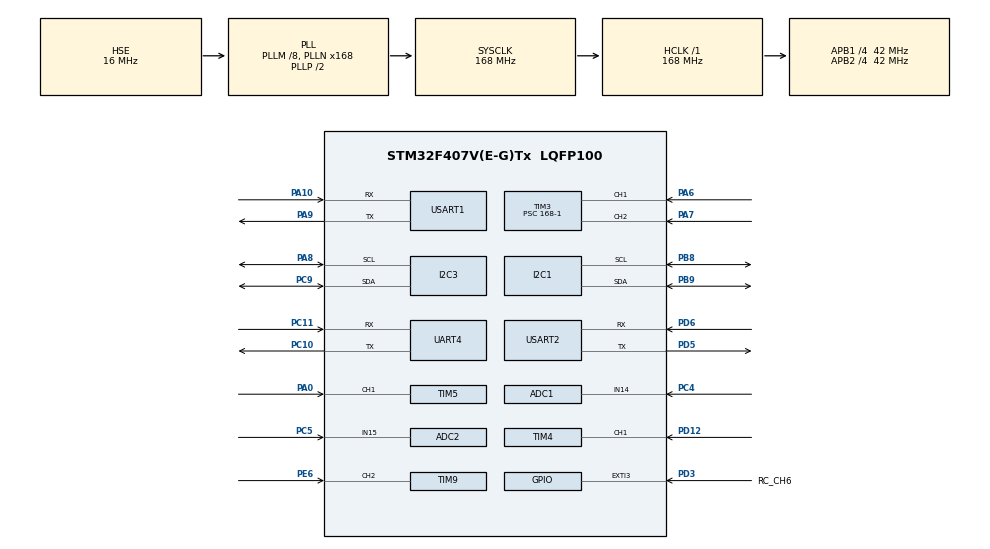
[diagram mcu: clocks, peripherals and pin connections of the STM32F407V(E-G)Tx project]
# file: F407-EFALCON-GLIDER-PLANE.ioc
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ADC1.Channel-0\#ChannelRegularConversion=ADC_CHANNEL_14
ADC1.ClockPrescaler=ADC_CLOCK_SYNC_PCLK_DIV4
ADC1.ContinuousConvMode=ENABLE
ADC1.NbrOfConversionFlag=1
ADC1.Rank-0\#ChannelRegularConversion=1
ADC1.SamplingTime-0\#ChannelRegularConversion=ADC_SAMPLETIME_3CYCLES
ADC1.master=1
ADC2.Channel-0\#ChannelRegularConversion=ADC_CHANNEL_15
ADC2.ClockPrescaler=ADC_CLOCK_SYNC_PCLK_DIV4
ADC2.ContinuousConvMode=ENABLE
ADC2.NbrOfConversionFlag=1
ADC2.Rank-0\#ChannelRegularConversion=1
ADC2.SamplingTime-0\#ChannelRegularConversion=ADC_SAMPLETIME_3CYCLES
Dma.Request0=USART2_RX
Dma.Request1=UART4_RX
Dma.UART4_RX.1.Direction=DMA_PERIPH_TO_MEMORY
Dma.UART4_RX.1.FIFOMode=DMA_FIFOMODE_DISABLE
Dma.UART4_RX.1.Instance=DMA1_Stream2
Dma.UART4_RX.1.MemDataAlignment=DMA_MDATAALIGN_BYTE
Dma.UART4_RX.1.MemInc=DMA_MINC_ENABLE
Dma.UART4_RX.1.Mode=DMA_CIRCULAR
Dma.UART4_RX.1.PeriphDataAlignment=DMA_PDATAALIGN_BYTE
Dma.UART4_RX.1.PeriphInc=DMA_PINC_DISABLE
Dma.UART4_RX.1.Priority=DMA_PRIORITY_LOW
Dma.USART2_RX.0.Direction=DMA_PERIPH_TO_MEMORY
Dma.USART2_RX.0.FIFOMode=DMA_FIFOMODE_DISABLE
Dma.USART2_RX.0.Instance=DMA1_Stream5
Dma.USART2_RX.0.MemDataAlignment=DMA_MDATAALIGN_BYTE
Dma.USART2_RX.0.MemInc=DMA_MINC_ENABLE
Dma.USART2_RX.0.Mode=DMA_CIRCULAR
Dma.USART2_RX.0.PeriphDataAlignment=DMA_PDATAALIGN_BYTE
Dma.USART2_RX.0.PeriphInc=DMA_PINC_DISABLE
Dma.USART2_RX.0.Priority=DMA_PRIORITY_LOW
Mcu.Family=STM32F4
Mcu.Name=STM32F407V(E-G)Tx
Mcu.Package=LQFP100
NVIC.DMA1_Stream2_IRQn=true\:0\:0\:false\:false\:true\:false\:true
NVIC.DMA1_Stream5_IRQn=true\:0\:0\:false\:false\:true\:false\:true
NVIC.PriorityGroup=NVIC_PRIORITYGROUP_4
NVIC.UART4_IRQn=true\:0\:0\:false\:false\:true\:true\:true
PA0-WKUP.Signal=S_TIM5_CH1
PA10.Mode=Asynchronous
PA10.Signal=USART1_RX
PA13.Mode=Serial_Wire
PA13.Signal=SYS_JTMS-SWDIO
PA14.Mode=Serial_Wire
PA14.Signal=SYS_JTCK-SWCLK
PA6.Signal=S_TIM3_CH1
PA7.Signal=S_TIM3_CH2
PA8.Mode=I2C
PA8.Signal=I2C3_SCL
PA9.Mode=Asynchronous
PA9.Signal=USART1_TX
PB8.Mode=I2C
PB8.Signal=I2C1_SCL
PB9.Mode=I2C
PB9.Signal=I2C1_SDA
PC10.Mode=Asynchronous
PC10.Signal=UART4_TX
PC11.Mode=Asynchronous
PC11.Signal=UART4_RX
PC4.Signal=ADCx_IN14
PC5.Signal=ADCx_IN15
PC9.Mode=I2C
PC9.Signal=I2C3_SDA
PD12.Signal=S_TIM4_CH1
PD3.GPIO_Label=RC_CH6
PD3.GPIO_ModeDefaultEXTI=GPIO_MODE_IT_RISING_FALLING
PD3.GPIO_PuPd=GPIO_PULLDOWN
PD3.Signal=GPXTI3
PD5.Mode=Asynchronous
PD5.Signal=USART2_TX
PD6.Mode=Asynchronous
PD6.Signal=USART2_RX
PE6.Signal=S_TIM9_CH2
PH0-OSC_IN.Mode=HSE-External-Oscillator
PH0-OSC_IN.Signal=RCC_OSC_IN
PH1-OSC_OUT.Mode=HSE-External-Oscillator
PH1-OSC_OUT.Signal=RCC_OSC_OUT
ProjectManager.HeapSize=0x200
ProjectManager.StackSize=0x400
ProjectManager.TargetToolchain=STM32CubeIDE
RCC.48MHZClocksFreq_Value=84000000
RCC.AHBFreq_Value=168000000
RCC.APB1CLKDivider=RCC_HCLK_DIV4
RCC.APB1Freq_Value=42000000
RCC.APB1TimFreq_Value=84000000
RCC.APB2CLKDivider=RCC_HCLK_DIV4
RCC.APB2Freq_Value=42000000
RCC.APB2TimFreq_Value=84000000
RCC.CortexFreq_Value=168000000
RCC.HCLKFreq_Value=168000000
RCC.HSE_VALUE=16000000
RCC.HSI_VALUE=16000000
RCC.LSE_VALUE=32768
RCC.PLLM=8
RCC.PLLN=168
RCC.PLLSourceVirtual=RCC_PLLSOURCE_HSE
RCC.SYSCLKFreq_VALUE=168000000
RCC.SYSCLKSource=RCC_SYSCLKSOURCE_PLLCLK
RCC.VCOOutputFreq_Value=336000000
SH.ADCx_IN14.0=ADC1_IN14,IN14
SH.ADCx_IN15.0=ADC2_IN15,IN15
SH.S_TIM3_CH1.0=TIM3_CH1,Input_Capture1_from_TI1
SH.S_TIM3_CH2.0=TIM3_CH2,Input_Capture2_from_TI2
SH.S_TIM4_CH1.0=TIM4_CH1,Input_Capture1_from_TI1
SH.S_TIM5_CH1.0=TIM5_CH1,Input_Capture1_from_TI1
SH.S_TIM9_CH2.0=TIM9_CH2,Input_Capture2_from_TI2
TIM3.Channel-Input_Capture1_from_TI1=TIM_CHANNEL_1
TIM3.Channel-Input_Capture2_from_TI2=TIM_CHANNEL_2
TIM3.Period=0xFFFF - 1
TIM3.Prescaler=168-1
TIM4.Channel-Input_Capture1_from_TI1=TIM_CHANNEL_1
TIM4.Period=0xFFFF - 1
TIM4.Prescaler=168-1
TIM5.Channel-Input_Capture1_from_TI1=TIM_CHANNEL_1
TIM5.Period=0xFFFF-1
TIM5.Prescaler=168-1
TIM6.Prescaler=42-1
TIM9.Channel-Input_Capture2_from_TI2=TIM_CHANNEL_2
TIM9.Period=0xFFFF-1
TIM9.Prescaler=168-1
UART4.VirtualMode=Asynchronous
USART1.VirtualMode=VM_ASYNC
USART2.VirtualMode=VM_ASYNC
VP_TIM6_VS_ClockSourceINT.Mode=Enable_Timer
board=custom

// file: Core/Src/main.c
/* USER CODE BEGIN Header */
/**
  ******************************************************************************
  * @file           : main.c
  * @brief          : Main program body
  ******************************************************************************
  * @attention
  *
  * <h2><center>&copy; Copyright (c) 2020 STMicroelectronics.
  * All rights reserved.</center></h2>
  *
  * This software component is licensed by ST under BSD 3-Clause license,
  * the "License"; You may not use this file except in compliance with the
  * License. You may obtain a copy of the License at:
  *                        opensource.org/licenses/BSD-3-Clause
  *
  ******************************************************************************
  */
/* USER CODE END Header */
#include "main.h"

/* USER CODE BEGIN Includes */
#include <string.h>
#include <stdio.h>
#include <stdlib.h>
#include <stdbool.h>
#include <math.h>

#include "I2Cdev.h"
#include "HMC5883L.h"
#include "bmp280.h"
#include "Kalman.h"
/* USER CODE END Includes */

/* USER CODE BEGIN PD */
#define PI	3.14159265358979f
/* USER CODE END PD */

ADC_HandleTypeDef hadc1;
ADC_HandleTypeDef hadc2;

I2C_HandleTypeDef hi2c1;
I2C_HandleTypeDef hi2c3;

TIM_HandleTypeDef htim3;
TIM_HandleTypeDef htim4;
TIM_HandleTypeDef htim5;
TIM_HandleTypeDef htim6;
TIM_HandleTypeDef htim9;

UART_HandleTypeDef huart4;
UART_HandleTypeDef huart1;
UART_HandleTypeDef huart2;
DMA_HandleTypeDef hdma_uart4_rx;
DMA_HandleTypeDef hdma_usart2_rx;

/* USER CODE BEGIN PV */
uint8_t buffer[200];
uint16_t ukuranstring;
/*-------Air_Speed----*/
uint32_t data_air;
const float sensitivity = 0.6;
const float offset = 0.6;
float air_speed, analog_air;
/*------Baterai------*/
uint32_t data_bat;
float baterai;
/*------COMPAS HMC883L----*/
int16_t x_heading, y_heading, z_heading;
float heading, data_heading, headingDegrees, declinationAngle;
/*-------BMP280----*/
Kalman_t kalman_altitude;
BMP280_HandleTypedef bmp280;
bool bme280p;
float pressureRef = 0, altitude;
/*------IMU_GY-25----*/
static char IMUDataStatus = 0;
volatile float sensorYaw, sensorPitch, sensorRoll;
float pitchRef = 0, yawRef = 0, rollRef = 0;
IMU_DATA IMU_Data;
HAL_StatusTypeDef huart2Status;
HAL_StatusTypeDef huart1Status;
uint8_t IMUBuffer[16];
/*-------GPS DATA----*/
float lon_gps, lat_gps;
char lat[20], lat_a, lon[20], lon_a;
DMA_Event_t dma_uart4_rx = {0, 0, DMA_BUF_SIZE};
uint8_t dma_rx4_buf[DMA_BUF_SIZE];
uint8_t data_gps[DMA_BUF_SIZE] = {'\0'};
bool UART4DataFlag = false;
/*-----INPUT TIM-----*/
PWM_DATA RC_CH1, RC_CH2, RC_CH3, RC_CH4, RC_CH5, RC_CH6;
FLY_MODE fly_mode;
/* USER CODE END PV */

void SystemClock_Config(void);
static void MX_GPIO_Init(void);
static void MX_DMA_Init(void);
static void MX_I2C1_Init(void);
static void MX_USART2_UART_Init(void);
static void MX_USART1_UART_Init(void);
static void MX_UART4_Init(void);
static void MX_I2C3_Init(void);
static void MX_ADC1_Init(void);
static void MX_ADC2_Init(void);
static void MX_TIM3_Init(void);
static void MX_TIM4_Init(void);
static void MX_TIM5_Init(void);
static void MX_TIM9_Init(void);
static void MX_TIM6_Init(void);

/* USER CODE BEGIN 0 */
void airspeed(){
	HAL_ADC_Start(&hadc2);
	while (__HAL_ADC_GET_FLAG(&hadc2, ADC_FLAG_EOC) != SET){;}
		  HAL_ADC_Stop(&hadc2);
		  data_air = HAL_ADC_GetValue(&hadc2);
		  analog_air = ((((float)data_air)/4095.0 * 3.0) - offset) / sensitivity;
		  if (analog_air <0.0) analog_air = 0;
			air_speed =  sqrt (2.0 * analog_air / 1.2 ) * 1.943844;
}
void monitor_BAT(){
	HAL_ADC_Start(&hadc1);
	while (__HAL_ADC_GET_FLAG(&hadc1, ADC_FLAG_EOC) != SET){;}
		  HAL_ADC_Stop(&hadc1);
		  data_bat = HAL_ADC_GetValue(&hadc1);
		  baterai = ((float)data_bat * 3.04985) * 0.00433641;
}
void HMC5883LInit(){
	HMC5883L_initialize();
	HAL_Delay(1000);
	while (!HMC5883L_testConnection()){
		ukuranstring = sprintf((char*)buffer, "Inisialisasi HMC5893L GAGAL \r\n");
		HAL_UART_Transmit(&huart1, buffer, ukuranstring, 10);
		HMC5883L_initialize();
		HAL_Delay(500);
	}
	ukuranstring = sprintf((char*)buffer, "Inisialisasi HMC5893L Telah Berhasil \r\n");
	HAL_UART_Transmit(&huart1, buffer, ukuranstring, 10);
}
float bacaheading(){
	HMC5883L_getHeading(&x_heading, &y_heading, &z_heading);
	heading = (atan2(x_heading, y_heading));
	declinationAngle = 0.22;				//data untuk mendahului gerakan yaw saat wahana cepat
	heading += declinationAngle;
	//normalise PI 0 sampai dengan 360
	if (heading < 0){
		heading += 2*PI;
	}
	if (heading > 2*PI){
		heading -= 2*PI;
	}
	headingDegrees = heading * 180 / M_PI;	//konversi dari data radian menjadi degree
	if (headingDegrees < 0) headingDegrees += 360;
	else if (headingDegrees > 360) headingDegrees -= 360;
	return headingDegrees;
}
void GetHMC5893L(){
	if(HMC5883L_getReadyStatus()){
		data_heading = bacaheading();
	}
}
void get_IMU(IMU_DATA *IMU_Data){
	if(IMUDataStatus){
		  uint8_t YPR[8];
		  IMU_Data->YAW = 1000.0f, IMU_Data->PITCH = 1000.0f, IMU_Data->ROLL = 1000.0f;
		  char* buf;
		  buf = memchr(IMUBuffer, 0xAA, 16);
		  memcpy(YPR, buf, 8);
		  if(YPR[0] == 0xAA && YPR[7] == 0x55){
			  IMU_Data->YAW = (float)((YPR[1] << 8 | YPR[2]) * 0.01f);
			  if(IMU_Data->YAW > 179) IMU_Data->YAW = IMU_Data->YAW - 655;

			  sensorYaw = IMU_Data->YAW - yawRef;

			  IMU_Data->PITCH = (float)((YPR[3] << 8 | YPR[4]) * 0.01f);
			  if(IMU_Data->PITCH > 179) IMU_Data->PITCH = IMU_Data->PITCH - 655;

			  sensorPitch = IMU_Data->PITCH - pitchRef;

			  IMU_Data->ROLL = (float)((YPR[5] << 8 | YPR[6]) * 0.01f);
			  if(IMU_Data->ROLL > 179) IMU_Data->ROLL = IMU_Data->ROLL - 655;

			  sensorRoll = IMU_Data->ROLL - rollRef;
		  }
		  IMUDataStatus = false;
	}
}
void IMUInit(){
	  HAL_Delay(3000);
	  HAL_UART_Transmit(&huart2, (u_char*)0xA5, 1, 10);
	  HAL_UART_Transmit(&huart2, (u_char*)0x54, 1, 10);

	  HAL_Delay(3000);
	  ukuranstring = sprintf((char*)buffer,"Kalibrasi tilt done\r\n");
	  HAL_UART_Transmit(&huart1, buffer, ukuranstring, 100);

	  //Kalibrasi heading
	  HAL_UART_Transmit(&huart2, (u_char*)0xA5, 1, 10);
	  HAL_UART_Transmit(&huart2, (u_char*)0x55, 1, 10);
	  HAL_Delay(3000);

	  ukuranstring = sprintf((char*)buffer,"Kalibrasi heading done\r\n");
	  HAL_UART_Transmit(&huart1, buffer, ukuranstring, 100);

	  //Konfigurasi Output ASCII
	  HAL_UART_Transmit(&huart2, (u_char*)0xA5, 1, 10);
	  HAL_UART_Transmit(&huart2, (u_char*)0x52, 1, 10);
	  HAL_Delay(1000);
	  HAL_UART_Receive_DMA(&huart2, IMUBuffer, 16);

	  float pitchTotal = 0, yawTotal = 0, rollTotal = 0;
	  int i = 0;
	  while(i < 100){
		  if(IMUDataStatus){
			  i += 1;
			  get_IMU(&IMU_Data);
			  pitchTotal += IMU_Data.PITCH;
			  yawTotal += IMU_Data.YAW;
			  rollTotal += IMU_Data.ROLL;
		  } else continue;
	  }
	  pitchRef = pitchTotal / 100;
	  yawRef = yawTotal / 100;
	  rollRef = rollTotal / 100;
}
void BMPinit(){
	kalman_init(&kalman_altitude, 0.1, 0.1, 0.03);
	bmp280_init_default_params(&bmp280.params);
	bmp280.addr = BMP280_I2C_ADDRESS_0;
	bmp280.i2c = &hi2c1;

	while(!bmp280_init(&bmp280, &bmp280.params)){
		ukuranstring = sprintf((char*)buffer, "BMP280 initialization failed\r\n");
		HAL_UART_Transmit(&huart1, buffer, ukuranstring, 1000);
		HAL_Delay(50);
	}
	HAL_Delay(1000);
	bme280p = bmp280.id == BME280_CHIP_ID;
	ukuranstring = sprintf((char*)buffer, "BMP280: found %s\r\n", bme280p ? "BME280" : "BMP280");
	HAL_UART_Transmit(&huart1, buffer, ukuranstring, 1000);

	ukuranstring = sprintf((char*)buffer, "Calibrating.\r\n");
	HAL_UART_Transmit(&huart1, buffer, ukuranstring, 10);

	float pres_total = 0;
	float pressure, temperature, humidity;

	for(int i = 0; i < 100; ++i){
		while(bmp280_is_measuring(&bmp280)) continue;
		bmp280_read_float(&bmp280, &temperature, &pressure, &humidity);
		HAL_UART_Transmit(&huart1, (uint8_t*)".", 1, 10);
		pres_total = pres_total + pressure;
	}

	pressureRef = pres_total / 100;
	ukuranstring = sprintf((char*)buffer,"Done!\r\n");
	HAL_UART_Transmit(&huart1, buffer, ukuranstring, 10);
	HAL_Delay(1000);
}
void get_BMP280(){
	if(!bmp280_is_measuring(&bmp280)){
		  float pressure, temperature, humidity;
		  bmp280_read_float(&bmp280, &temperature, &pressure, &humidity);
		  float altitude_reading = bmp280_read_altitude(pressure/100, pressureRef/100);
		  float estimated_altitude = kalman_updateEstimate(&kalman_altitude, altitude_reading);
		  altitude = estimated_altitude;
	}
}
//-----------parsing Data GPS---------------
void gps_parse(){
	if(UART4DataFlag == 1){
				  char *pointer;
				  int length = sizeof(data_gps);

				  memset(lat, '\0', 20);
				  memset(lon, '\0', 20) ;
				  pointer = strchr((char*)data_gps, '$');

				  do{
					  char *ptrstart;
					  char *ptrend;
					  if(strncmp(pointer, "$GNGGA" , 6) == 0){ //$GNGGA
						  ptrstart = (char*)memchr(pointer + 1, ',', length);
						  ptrstart = (char*)memchr(ptrstart + 1, ',', length);
						  ptrend = (char*)memchr(ptrstart + 1, ',', length);

					  } else if(strncmp(pointer, "$GNGLL", 6) == 0){ //$GNGLL
						  ptrstart = (char*)memchr(pointer + 1, ',', length);
						  ptrend = (char*)memchr(ptrstart + 1, ',', length);

					  } else if(strncmp(pointer, "$GNRMC", 6) == 0){
						  ptrstart = (char*)memchr(pointer + 1, ',', length);
						  ptrstart = (char*)memchr(ptrstart + 1, ',', length);
						  ptrstart = (char*)memchr(ptrstart + 1, ',', length);
						  ptrend = (char*)memchr(ptrstart + 1, ',', length);

					  } else {
						  pointer = strchr(pointer + 6, '$');
						  continue;
					  }

					  for(int i = 1; i < (ptrend - ptrstart); i++) lat[i - 1] = ptrstart[i];
					  lat_a = *(ptrend + 1);

					  ptrstart = (char*)memchr(ptrend + 1, ',', length);
					  ptrend = (char*)memchr(ptrstart + 1, ',', length);

					  for(int i = 1; i < (ptrend - ptrstart); i++) lon[i - 1] = ptrstart[i];
					  lon_a = *(ptrend + 1);
					  if(lon[0] != '\0' && lat[0] != '\0'){
						  //ukuranstring = sprintf((char*)buffer, "Lat: %s | %c\tLon: %s | %c\r\n", lat, lat_a, lon, lon_a);
						  //HAL_UART_Transmit(&huart1, buffer, ukuranstring, 100);
						  lat_gps = atof((char*)lat);
						  lon_gps = atof((char*)lon);
						  break;
					  }
					  pointer = strchr(pointer + 4, '$');
				  }
				  while(pointer != NULL);
				  UART4DataFlag = false;
			  }
}
void kirimGCS(){
/*	ukuranstring = sprintf((char*)buffer, "lat|lon=%f | %f,Y: %f,P: %f,R: %f,Alti: %f,Bat:%f,air:%f\r\n", lat_gps, lon_gps, sensorYaw, sensorPitch, sensorRoll, altitude, baterai, air_speed);
	HAL_UART_Transmit(&huart1, buffer, ukuranstring, 100);*/
	  ukuranstring = sprintf((char*)buffer, "CH1: %lu, CH2: %lu, CH3: %lu, CH4: %lu, CH5: %lu, CH6: %lu\r\n",
			  RC_CH1.DutyCycleVal, RC_CH2.DutyCycleVal, RC_CH3.DutyCycleVal,
			  RC_CH4.DutyCycleVal, RC_CH5.DutyCycleVal, RC_CH6.DutyCycleVal);
	  HAL_UART_Transmit(&huart1, buffer, ukuranstring, 100);
}
void initPWM_DATA(PWM_DATA* pwm_data, TIM_HandleTypeDef *htim, uint32_t channel){
	pwm_data->onFallingEdge = false;
	pwm_data->onRisingEdge = true;
	pwm_data->channel = channel;
	pwm_data->htim = htim;
}
void RemoteInit(){
	  fly_mode = FLY_MODE_OFF;
	  ukuranstring = sprintf((char*)buffer, "Wahana Mode Off\r\n");
	  HAL_UART_Transmit(&huart1, buffer, ukuranstring, 10);

	  initPWM_DATA(&RC_CH1, &htim3, TIM_CHANNEL_2);
	  initPWM_DATA(&RC_CH2, &htim9, TIM_CHANNEL_2);
	  initPWM_DATA(&RC_CH3, &htim5, TIM_CHANNEL_1);
	  initPWM_DATA(&RC_CH4, &htim3, TIM_CHANNEL_1);
	  initPWM_DATA(&RC_CH5, &htim4, TIM_CHANNEL_1);
	  initPWM_DATA(&RC_CH6, &htim6, 0);

	  HAL_TIM_IC_Start_IT(RC_CH1.htim, RC_CH1.channel);
	  HAL_TIM_IC_Start_IT(RC_CH2.htim, RC_CH2.channel);
	  HAL_TIM_IC_Start_IT(RC_CH3.htim, RC_CH3.channel);
	  HAL_TIM_IC_Start_IT(RC_CH4.htim, RC_CH4.channel);
	  HAL_TIM_IC_Start_IT(RC_CH5.htim, RC_CH5.channel);
	  HAL_TIM_Base_Start(RC_CH6.htim);
}
void setPWM_DATA(PWM_DATA* pwm_data){
	if(pwm_data->onRisingEdge && !pwm_data->onFallingEdge){
		pwm_data->onRisingEdge = false;
		pwm_data->onFallingEdge = true;
		pwm_data->RisingEdgeVal = HAL_TIM_ReadCapturedValue(pwm_data->htim, pwm_data->channel);
		__HAL_TIM_SET_CAPTUREPOLARITY(pwm_data->htim, pwm_data->channel, TIM_INPUTCHANNELPOLARITY_FALLING);

	} else if(pwm_data->onFallingEdge && !pwm_data->onRisingEdge) {
		pwm_data->onFallingEdge = false;
		pwm_data->onRisingEdge =  true;
		pwm_data->FallingEdgeVal = HAL_TIM_ReadCapturedValue(pwm_data->htim, pwm_data->channel);
		__HAL_TIM_SET_CAPTUREPOLARITY(pwm_data->htim, pwm_data->channel, TIM_INPUTCHANNELPOLARITY_RISING);
	}
	if(pwm_data->FallingEdgeVal >= pwm_data->RisingEdgeVal){
		pwm_data->DutyCycleVal = pwm_data->FallingEdgeVal - pwm_data->RisingEdgeVal;
		pwm_data->FallingEdgeVal = 0;
		pwm_data->RisingEdgeVal = 0;
	}
}
/*void ESCInit(){
	HAL_TIM_PWM_Start(&htim2, TIM_CHANNEL_3);
	setPWM(htim2, TIM_CHANNEL_3, ESC_PWM_MAX);
	HAL_Delay(2000);
	setPWM(htim2, TIM_CHANNEL_3, ESC_PWM_MIN);
	HAL_Delay(2000);
}*/
void modefly(){
	  if(inputFlyMode >= 1000 && inputFlyMode <= 1050 && fly_mode != FLY_MODE_OFF){
//		  HAL_TIM_Base_Stop_IT(&htim7);
		  fly_mode = FLY_MODE_OFF;
/*		  PIDReset(&PIDRoll);
		  PIDReset(&PIDPitch);
		  PIDReset(&PIDYaw);
		  pulseESC1 = pulseESC2 = pulseESC3 = pulseESC4 = 1000;*/
		  ukuranstring = sprintf((char*)buffer, "Wahana Mode Off\r\n");
		  HAL_UART_Transmit(&huart1, buffer, ukuranstring, 10);
	  } else if(inputFlyMode >= 1450 && inputFlyMode <= 1550 && fly_mode != FLY_MODE_ON){
		  fly_mode = FLY_MODE_ON;
		  ukuranstring = sprintf((char*)buffer, "Wahana Mode On\r\n");
		  HAL_UART_Transmit(&huart1, buffer, ukuranstring, 10);
//		  HAL_TIM_Base_Start_IT(&htim7);
	  } else if(inputFlyMode >= 1900 && inputFlyMode <= 2000 && fly_mode != FLY_MODE_HOLD){
		  fly_mode = FLY_MODE_HOLD;
		  ukuranstring = sprintf((char*)buffer, "Wahana Mode Hold\r\n");
		  HAL_UART_Transmit(&huart1, buffer, ukuranstring, 10);
	  }
}
/* USER CODE END 0 */

int main(void)
{

  /* MCU Configuration--------------------------------------------------------*/

  /* Reset of all peripherals, Initializes the Flash interface and the Systick. */
  HAL_Init();

  /* Configure the system clock */
  SystemClock_Config();

  /* Initialize all configured peripherals */
  MX_GPIO_Init();
  MX_DMA_Init();
  MX_I2C1_Init();
  MX_USART2_UART_Init();
  MX_USART1_UART_Init();
  MX_UART4_Init();
  MX_I2C3_Init();
  MX_ADC1_Init();
  MX_ADC2_Init();
  MX_TIM3_Init();
  MX_TIM4_Init();
  MX_TIM5_Init();
  MX_TIM9_Init();
  MX_TIM6_Init();
  /* USER CODE BEGIN 2 */
  IMUInit();
  BMPinit();
  //HMC5883LInit();
  /*----interupt GPS UART4-----*/
  __HAL_UART_ENABLE_IT(&huart4, UART_IT_IDLE);
  if(HAL_UART_Receive_DMA(&huart4, dma_rx4_buf, DMA_BUF_SIZE) != HAL_OK){
	  Error_Handler();
  }
  __HAL_DMA_DISABLE_IT(huart4.hdmarx, DMA_IT_HT);
  /* USER CODE END 2 */

  /* Infinite loop */
  /* USER CODE BEGIN WHILE */
  while (1)
  {
	  modefly();
	  get_IMU(&IMU_Data);
	  get_BMP280();
	  gps_parse();
	  monitor_BAT();
	  airspeed();
	  kirimGCS();
    /* USER CODE END WHILE */

  }
}

void SystemClock_Config(void)
{
  RCC_OscInitTypeDef RCC_OscInitStruct = {0};
  RCC_ClkInitTypeDef RCC_ClkInitStruct = {0};

  /** Configure the main internal regulator output voltage
  */
  __HAL_RCC_PWR_CLK_ENABLE();
  __HAL_PWR_VOLTAGESCALING_CONFIG(PWR_REGULATOR_VOLTAGE_SCALE1);
  /** Initializes the RCC Oscillators according to the specified parameters
  * in the RCC_OscInitTypeDef structure.
  */
  RCC_OscInitStruct.OscillatorType = RCC_OSCILLATORTYPE_HSE;
  RCC_OscInitStruct.HSEState = RCC_HSE_ON;
  RCC_OscInitStruct.PLL.PLLState = RCC_PLL_ON;
  RCC_OscInitStruct.PLL.PLLSource = RCC_PLLSOURCE_HSE;
  RCC_OscInitStruct.PLL.PLLM = 8;
  RCC_OscInitStruct.PLL.PLLN = 168;
  RCC_OscInitStruct.PLL.PLLP = RCC_PLLP_DIV2;
  RCC_OscInitStruct.PLL.PLLQ = 4;
  if (HAL_RCC_OscConfig(&RCC_OscInitStruct) != HAL_OK)
  {
    Error_Handler();
  }
  /** Initializes the CPU, AHB and APB buses clocks
  */
  RCC_ClkInitStruct.ClockType = RCC_CLOCKTYPE_HCLK|RCC_CLOCKTYPE_SYSCLK
                              |RCC_CLOCKTYPE_PCLK1|RCC_CLOCKTYPE_PCLK2;
  RCC_ClkInitStruct.SYSCLKSource = RCC_SYSCLKSOURCE_PLLCLK;
  RCC_ClkInitStruct.AHBCLKDivider = RCC_SYSCLK_DIV1;
  RCC_ClkInitStruct.APB1CLKDivider = RCC_HCLK_DIV4;
  RCC_ClkInitStruct.APB2CLKDivider = RCC_HCLK_DIV4;

  if (HAL_RCC_ClockConfig(&RCC_ClkInitStruct, FLASH_LATENCY_5) != HAL_OK)
  {
    Error_Handler();
  }
}

static void MX_ADC1_Init(void)
{

  ADC_ChannelConfTypeDef sConfig = {0};

  /** Configure the global features of the ADC (Clock, Resolution, Data Alignment and number of conversion)
  */
  hadc1.Instance = ADC1;
  hadc1.Init.ClockPrescaler = ADC_CLOCK_SYNC_PCLK_DIV4;
  hadc1.Init.Resolution = ADC_RESOLUTION_12B;
  hadc1.Init.ScanConvMode = DISABLE;
  hadc1.Init.ContinuousConvMode = ENABLE;
  hadc1.Init.DiscontinuousConvMode = DISABLE;
  hadc1.Init.ExternalTrigConvEdge = ADC_EXTERNALTRIGCONVEDGE_NONE;
  hadc1.Init.ExternalTrigConv = ADC_SOFTWARE_START;
  hadc1.Init.DataAlign = ADC_DATAALIGN_RIGHT;
  hadc1.Init.NbrOfConversion = 1;
  hadc1.Init.DMAContinuousRequests = DISABLE;
  hadc1.Init.EOCSelection = ADC_EOC_SINGLE_CONV;
  if (HAL_ADC_Init(&hadc1) != HAL_OK)
  {
    Error_Handler();
  }
  /** Configure for the selected ADC regular channel its corresponding rank in the sequencer and its sample time.
  */
  sConfig.Channel = ADC_CHANNEL_14;
  sConfig.Rank = 1;
  sConfig.SamplingTime = ADC_SAMPLETIME_3CYCLES;
  if (HAL_ADC_ConfigChannel(&hadc1, &sConfig) != HAL_OK)
  {
    Error_Handler();
  }

}

static void MX_ADC2_Init(void)
{

  ADC_ChannelConfTypeDef sConfig = {0};

  /** Configure the global features of the ADC (Clock, Resolution, Data Alignment and number of conversion)
  */
  hadc2.Instance = ADC2;
  hadc2.Init.ClockPrescaler = ADC_CLOCK_SYNC_PCLK_DIV4;
  hadc2.Init.Resolution = ADC_RESOLUTION_12B;
  hadc2.Init.ScanConvMode = DISABLE;
  hadc2.Init.ContinuousConvMode = ENABLE;
  hadc2.Init.DiscontinuousConvMode = DISABLE;
  hadc2.Init.ExternalTrigConvEdge = ADC_EXTERNALTRIGCONVEDGE_NONE;
  hadc2.Init.ExternalTrigConv = ADC_SOFTWARE_START;
  hadc2.Init.DataAlign = ADC_DATAALIGN_RIGHT;
  hadc2.Init.NbrOfConversion = 1;
  hadc2.Init.DMAContinuousRequests = DISABLE;
  hadc2.Init.EOCSelection = ADC_EOC_SINGLE_CONV;
  if (HAL_ADC_Init(&hadc2) != HAL_OK)
  {
    Error_Handler();
  }
  /** Configure for the selected ADC regular channel its corresponding rank in the sequencer and its sample time.
  */
  sConfig.Channel = ADC_CHANNEL_15;
  sConfig.Rank = 1;
  sConfig.SamplingTime = ADC_SAMPLETIME_3CYCLES;
  if (HAL_ADC_ConfigChannel(&hadc2, &sConfig) != HAL_OK)
  {
    Error_Handler();
  }

}

static void MX_I2C1_Init(void)
{

  hi2c1.Instance = I2C1;
  hi2c1.Init.ClockSpeed = 100000;
  hi2c1.Init.DutyCycle = I2C_DUTYCYCLE_2;
  hi2c1.Init.OwnAddress1 = 0;
  hi2c1.Init.AddressingMode = I2C_ADDRESSINGMODE_7BIT;
  hi2c1.Init.DualAddressMode = I2C_DUALADDRESS_DISABLE;
  hi2c1.Init.OwnAddress2 = 0;
  hi2c1.Init.GeneralCallMode = I2C_GENERALCALL_DISABLE;
  hi2c1.Init.NoStretchMode = I2C_NOSTRETCH_DISABLE;
  if (HAL_I2C_Init(&hi2c1) != HAL_OK)
  {
    Error_Handler();
  }

}

static void MX_I2C3_Init(void)
{

  hi2c3.Instance = I2C3;
  hi2c3.Init.ClockSpeed = 100000;
  hi2c3.Init.DutyCycle = I2C_DUTYCYCLE_2;
  hi2c3.Init.OwnAddress1 = 0;
  hi2c3.Init.AddressingMode = I2C_ADDRESSINGMODE_7BIT;
  hi2c3.Init.DualAddressMode = I2C_DUALADDRESS_DISABLE;
  hi2c3.Init.OwnAddress2 = 0;
  hi2c3.Init.GeneralCallMode = I2C_GENERALCALL_DISABLE;
  hi2c3.Init.NoStretchMode = I2C_NOSTRETCH_DISABLE;
  if (HAL_I2C_Init(&hi2c3) != HAL_OK)
  {
    Error_Handler();
  }

}

static void MX_TIM3_Init(void)
{

  TIM_MasterConfigTypeDef sMasterConfig = {0};
  TIM_IC_InitTypeDef sConfigIC = {0};

  htim3.Instance = TIM3;
  htim3.Init.Prescaler = 168-1;
  htim3.Init.CounterMode = TIM_COUNTERMODE_UP;
  htim3.Init.Period = 0xFFFF - 1;
  htim3.Init.ClockDivision = TIM_CLOCKDIVISION_DIV1;
  htim3.Init.AutoReloadPreload = TIM_AUTORELOAD_PRELOAD_DISABLE;
  if (HAL_TIM_IC_Init(&htim3) != HAL_OK)
  {
    Error_Handler();
  }
  sMasterConfig.MasterOutputTrigger = TIM_TRGO_RESET;
  sMasterConfig.MasterSlaveMode = TIM_MASTERSLAVEMODE_DISABLE;
  if (HAL_TIMEx_MasterConfigSynchronization(&htim3, &sMasterConfig) != HAL_OK)
  {
    Error_Handler();
  }
  sConfigIC.ICPolarity = TIM_INPUTCHANNELPOLARITY_RISING;
  sConfigIC.ICSelection = TIM_ICSELECTION_DIRECTTI;
  sConfigIC.ICPrescaler = TIM_ICPSC_DIV1;
  sConfigIC.ICFilter = 0;
  if (HAL_TIM_IC_ConfigChannel(&htim3, &sConfigIC, TIM_CHANNEL_1) != HAL_OK)
  {
    Error_Handler();
  }
  if (HAL_TIM_IC_ConfigChannel(&htim3, &sConfigIC, TIM_CHANNEL_2) != HAL_OK)
  {
    Error_Handler();
  }

}

static void MX_TIM4_Init(void)
{

  TIM_MasterConfigTypeDef sMasterConfig = {0};
  TIM_IC_InitTypeDef sConfigIC = {0};

  htim4.Instance = TIM4;
  htim4.Init.Prescaler = 168-1;
  htim4.Init.CounterMode = TIM_COUNTERMODE_UP;
  htim4.Init.Period = 0xFFFF - 1;
  htim4.Init.ClockDivision = TIM_CLOCKDIVISION_DIV1;
  htim4.Init.AutoReloadPreload = TIM_AUTORELOAD_PRELOAD_DISABLE;
  if (HAL_TIM_IC_Init(&htim4) != HAL_OK)
  {
    Error_Handler();
  }
  sMasterConfig.MasterOutputTrigger = TIM_TRGO_RESET;
  sMasterConfig.MasterSlaveMode = TIM_MASTERSLAVEMODE_DISABLE;
  if (HAL_TIMEx_MasterConfigSynchronization(&htim4, &sMasterConfig) != HAL_OK)
  {
    Error_Handler();
  }
  sConfigIC.ICPolarity = TIM_INPUTCHANNELPOLARITY_RISING;
  sConfigIC.ICSelection = TIM_ICSELECTION_DIRECTTI;
  sConfigIC.ICPrescaler = TIM_ICPSC_DIV1;
  sConfigIC.ICFilter = 0;
  if (HAL_TIM_IC_ConfigChannel(&htim4, &sConfigIC, TIM_CHANNEL_1) != HAL_OK)
  {
    Error_Handler();
  }

}

static void MX_TIM5_Init(void)
{

  TIM_MasterConfigTypeDef sMasterConfig = {0};
  TIM_IC_InitTypeDef sConfigIC = {0};

  htim5.Instance = TIM5;
  htim5.Init.Prescaler = 168-1;
  htim5.Init.CounterMode = TIM_COUNTERMODE_UP;
  htim5.Init.Period = 0xFFFF-1;
  htim5.Init.ClockDivision = TIM_CLOCKDIVISION_DIV1;
  htim5.Init.AutoReloadPreload = TIM_AUTORELOAD_PRELOAD_DISABLE;
  if (HAL_TIM_IC_Init(&htim5) != HAL_OK)
  {
    Error_Handler();
  }
  sMasterConfig.MasterOutputTrigger = TIM_TRGO_RESET;
  sMasterConfig.MasterSlaveMode = TIM_MASTERSLAVEMODE_DISABLE;
  if (HAL_TIMEx_MasterConfigSynchronization(&htim5, &sMasterConfig) != HAL_OK)
  {
    Error_Handler();
  }
  sConfigIC.ICPolarity = TIM_INPUTCHANNELPOLARITY_RISING;
  sConfigIC.ICSelection = TIM_ICSELECTION_DIRECTTI;
  sConfigIC.ICPrescaler = TIM_ICPSC_DIV1;
  sConfigIC.ICFilter = 0;
  if (HAL_TIM_IC_ConfigChannel(&htim5, &sConfigIC, TIM_CHANNEL_1) != HAL_OK)
  {
    Error_Handler();
  }

}

static void MX_TIM6_Init(void)
{

  TIM_MasterConfigTypeDef sMasterConfig = {0};

  htim6.Instance = TIM6;
  htim6.Init.Prescaler = 42-1;
  htim6.Init.CounterMode = TIM_COUNTERMODE_UP;
  htim6.Init.Period = 65535;
  htim6.Init.AutoReloadPreload = TIM_AUTORELOAD_PRELOAD_DISABLE;
  if (HAL_TIM_Base_Init(&htim6) != HAL_OK)
  {
    Error_Handler();
  }
  sMasterConfig.MasterOutputTrigger = TIM_TRGO_RESET;
  sMasterConfig.MasterSlaveMode = TIM_MASTERSLAVEMODE_DISABLE;
  if (HAL_TIMEx_MasterConfigSynchronization(&htim6, &sMasterConfig) != HAL_OK)
  {
    Error_Handler();
  }

}

static void MX_TIM9_Init(void)
{

  TIM_IC_InitTypeDef sConfigIC = {0};

  htim9.Instance = TIM9;
  htim9.Init.Prescaler = 168-1;
  htim9.Init.CounterMode = TIM_COUNTERMODE_UP;
  htim9.Init.Period = 0xFFFF-1;
  htim9.Init.ClockDivision = TIM_CLOCKDIVISION_DIV1;
  htim9.Init.AutoReloadPreload = TIM_AUTORELOAD_PRELOAD_DISABLE;
  if (HAL_TIM_IC_Init(&htim9) != HAL_OK)
  {
    Error_Handler();
  }
  sConfigIC.ICPolarity = TIM_INPUTCHANNELPOLARITY_RISING;
  sConfigIC.ICSelection = TIM_ICSELECTION_DIRECTTI;
  sConfigIC.ICPrescaler = TIM_ICPSC_DIV1;
  sConfigIC.ICFilter = 0;
  if (HAL_TIM_IC_ConfigChannel(&htim9, &sConfigIC, TIM_CHANNEL_2) != HAL_OK)
  {
    Error_Handler();
  }

}

static void MX_UART4_Init(void)
{

  huart4.Instance = UART4;
  huart4.Init.BaudRate = 115200;
  huart4.Init.WordLength = UART_WORDLENGTH_8B;
  huart4.Init.StopBits = UART_STOPBITS_1;
  huart4.Init.Parity = UART_PARITY_NONE;
  huart4.Init.Mode = UART_MODE_TX_RX;
  huart4.Init.HwFlowCtl = UART_HWCONTROL_NONE;
  huart4.Init.OverSampling = UART_OVERSAMPLING_16;
  if (HAL_UART_Init(&huart4) != HAL_OK)
  {
    Error_Handler();
  }

}

static void MX_USART1_UART_Init(void)
{

  huart1.Instance = USART1;
  huart1.Init.BaudRate = 115200;
  huart1.Init.WordLength = UART_WORDLENGTH_8B;
  huart1.Init.StopBits = UART_STOPBITS_1;
  huart1.Init.Parity = UART_PARITY_NONE;
  huart1.Init.Mode = UART_MODE_TX_RX;
  huart1.Init.HwFlowCtl = UART_HWCONTROL_NONE;
  huart1.Init.OverSampling = UART_OVERSAMPLING_16;
  if (HAL_UART_Init(&huart1) != HAL_OK)
  {
    Error_Handler();
  }

}

static void MX_USART2_UART_Init(void)
{

  huart2.Instance = USART2;
  huart2.Init.BaudRate = 115200;
  huart2.Init.WordLength = UART_WORDLENGTH_8B;
  huart2.Init.StopBits = UART_STOPBITS_1;
  huart2.Init.Parity = UART_PARITY_NONE;
  huart2.Init.Mode = UART_MODE_TX_RX;
  huart2.Init.HwFlowCtl = UART_HWCONTROL_NONE;
  huart2.Init.OverSampling = UART_OVERSAMPLING_16;
  if (HAL_UART_Init(&huart2) != HAL_OK)
  {
    Error_Handler();
  }

}

static void MX_DMA_Init(void)
{

  /* DMA controller clock enable */
  __HAL_RCC_DMA1_CLK_ENABLE();

  /* DMA interrupt init */
  /* DMA1_Stream2_IRQn interrupt configuration */
  HAL_NVIC_SetPriority(DMA1_Stream2_IRQn, 0, 0);
  HAL_NVIC_EnableIRQ(DMA1_Stream2_IRQn);
  /* DMA1_Stream5_IRQn interrupt configuration */
  HAL_NVIC_SetPriority(DMA1_Stream5_IRQn, 0, 0);
  HAL_NVIC_EnableIRQ(DMA1_Stream5_IRQn);

}

static void MX_GPIO_Init(void)
{
  GPIO_InitTypeDef GPIO_InitStruct = {0};

  /* GPIO Ports Clock Enable */
  __HAL_RCC_GPIOE_CLK_ENABLE();
  __HAL_RCC_GPIOH_CLK_ENABLE();
  __HAL_RCC_GPIOA_CLK_ENABLE();
  __HAL_RCC_GPIOC_CLK_ENABLE();
  __HAL_RCC_GPIOD_CLK_ENABLE();
  __HAL_RCC_GPIOB_CLK_ENABLE();

  /*Configure GPIO pin : RC_CH6_Pin */
  GPIO_InitStruct.Pin = RC_CH6_Pin;
  GPIO_InitStruct.Mode = GPIO_MODE_IT_RISING_FALLING;
  GPIO_InitStruct.Pull = GPIO_PULLDOWN;
  HAL_GPIO_Init(RC_CH6_GPIO_Port, &GPIO_InitStruct);

}

/* USER CODE BEGIN 4 */
void HAL_UART_RxCpltCallback(UART_HandleTypeDef *huart){
	if(huart->Instance == UART4){
	    uint16_t i, pos, start, length;
	    uint16_t currCNDTR = __HAL_DMA_GET_COUNTER(huart->hdmarx);

	    if(dma_uart4_rx.flag && currCNDTR == DMA_BUF_SIZE)
	    {
	        dma_uart4_rx.flag = 0;
	        return;
	    }
	    start = (dma_uart4_rx.prevCNDTR < DMA_BUF_SIZE) ? (DMA_BUF_SIZE - dma_uart4_rx.prevCNDTR) : 0;
	    if(dma_uart4_rx.flag)    /* Timeout event */
	    {
	        length = (dma_uart4_rx.prevCNDTR < DMA_BUF_SIZE) ? (dma_uart4_rx.prevCNDTR - currCNDTR) : (DMA_BUF_SIZE - currCNDTR);
	        dma_uart4_rx.prevCNDTR = currCNDTR;
	        dma_uart4_rx.flag = 0;
	    }
	    else                /* DMA Rx Complete event */
	    {
	        length = DMA_BUF_SIZE - start;
	        dma_uart4_rx.prevCNDTR = DMA_BUF_SIZE;
	    }
	    for(i=0,pos=start; i<length; ++i,++pos)
	    {
	        data_gps[i] = dma_rx4_buf[pos];
	    }
	    UART4DataFlag = true;
	}else if(huart->Instance == USART2 && IMUDataStatus == 0){
		IMUDataStatus = 1;
	}
}
void HAL_TIM_IC_CaptureCallback(TIM_HandleTypeDef *htim){
	if(htim == RC_CH1.htim){
		if(htim->Channel == HAL_TIM_ACTIVE_CHANNEL_2){
			setPWM_DATA(&RC_CH1);
			inputRoll = map((float)RC_CH1.DutyCycleVal, 1000, 2000, -90, 90);
			inputRoll = constrain(inputRoll, -30, 30);
		} else if(htim->Channel == HAL_TIM_ACTIVE_CHANNEL_1){
			setPWM_DATA(&RC_CH4);
			inputYaw = map((float)RC_CH4.DutyCycleVal, 1000, 2000, -90, 90);
			inputYaw = constrain(inputYaw, -30, 30);
		}
	}
	else if(htim == RC_CH2.htim){
		setPWM_DATA(&RC_CH2);
		inputPitch = map((float)RC_CH2.DutyCycleVal, 1000, 2000, -90, 90);
		inputPitch = constrain(inputPitch, -30, 30);
	}
	else if(htim == RC_CH3.htim) {
		setPWM_DATA(&RC_CH3);
		inputThrottle = constrain(RC_CH3.DutyCycleVal, 1000, 2000);
	}
	else if(htim == RC_CH5.htim) {
		setPWM_DATA(&RC_CH5);
		inputFlyMode = constrain(RC_CH5.DutyCycleVal, 1000, 2000);

	}
}
void HAL_GPIO_EXTI_Callback(uint16_t GPIO_Pin){
	if(RC_CH6.onRisingEdge && !RC_CH6.onFallingEdge){
		RC_CH6.onRisingEdge = false;
		RC_CH6.onFallingEdge = true;
		RC_CH6.RisingEdgeVal = __HAL_TIM_GET_COUNTER(RC_CH6.htim);

	} else if(RC_CH6.onFallingEdge && !RC_CH6.onRisingEdge) {
		RC_CH6.onFallingEdge = false;
		RC_CH6.onRisingEdge =  true;
		RC_CH6.FallingEdgeVal = __HAL_TIM_GET_COUNTER(RC_CH6.htim);
	}
	if(RC_CH6.FallingEdgeVal >= RC_CH6.RisingEdgeVal){
		RC_CH6.DutyCycleVal = RC_CH6.FallingEdgeVal - RC_CH6.RisingEdgeVal;
		RC_CH6.FallingEdgeVal = 0;
		RC_CH6.RisingEdgeVal = 0;
	}
}
/* USER CODE END 4 */

void Error_Handler(void)
{
}

/************************ (C) COPYRIGHT STMicroelectronics *****END OF FILE****/
